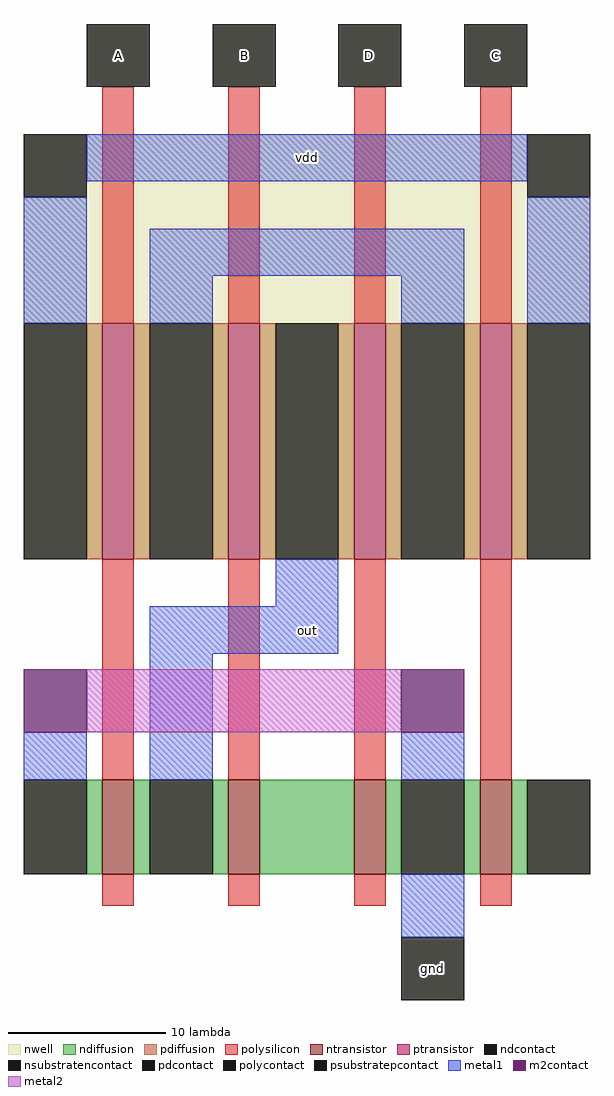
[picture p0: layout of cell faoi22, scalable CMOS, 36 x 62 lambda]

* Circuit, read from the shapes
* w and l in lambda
.subckt faoi22 A B C D gnd out vdd
M1 out A gnd gnd nfet w=6 l=2
M2 n1 B out gnd nfet w=6 l=2
M3 gnd D n1 gnd nfet w=6 l=2
M4 n2 C gnd gnd nfet w=6 l=2
M5 n3 A vdd vdd pfet w=15 l=2
M6 out B n3 vdd pfet w=15 l=2
M7 n3 D out vdd pfet w=15 l=2
M8 vdd C n3 vdd pfet w=15 l=2
.ends

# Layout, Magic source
magic
tech scmos
<< nwell >>
rect -16 23 20 50
<< polysilicon >>
rect -11 38 -9 53
rect -3 38 -1 53
rect 5 38 7 53
rect 13 38 15 53
rect -11 9 -9 23
rect -3 9 -1 23
rect 5 9 7 23
rect 13 9 15 23
rect -11 1 -9 3
rect -3 1 -1 3
rect 5 1 7 3
rect 13 1 15 3
<< ndiffusion >>
rect -12 3 -11 9
rect -9 3 -8 9
rect -4 3 -3 9
rect -1 3 5 9
rect 7 3 8 9
rect 12 3 13 9
rect 15 3 16 9
<< pdiffusion >>
rect -12 23 -11 38
rect -9 23 -8 38
rect -4 23 -3 38
rect -1 23 0 38
rect 4 23 5 38
rect 7 23 8 38
rect 12 23 13 38
rect 15 23 16 38
<< metal1 >>
rect -12 47 16 50
rect -16 38 -12 46
rect -8 41 12 44
rect -8 38 -4 41
rect 8 38 12 41
rect 16 38 20 46
rect 0 20 4 23
rect -8 17 4 20
rect -16 9 -12 12
rect -8 9 -4 17
rect 8 9 12 12
rect 8 -1 12 3
<< metal2 >>
rect -12 12 8 16
<< ntransistor >>
rect -11 3 -9 9
rect -3 3 -1 9
rect 5 3 7 9
rect 13 3 15 9
<< ptransistor >>
rect -11 23 -9 38
rect -3 23 -1 38
rect 5 23 7 38
rect 13 23 15 38
<< polycontact >>
rect -12 53 -8 57
rect -4 53 0 57
rect 4 53 8 57
rect 12 53 16 57
<< ndcontact >>
rect -16 3 -12 9
rect -8 3 -4 9
rect 8 3 12 9
rect 16 3 20 9
<< pdcontact >>
rect -16 23 -12 38
rect -8 23 -4 38
rect 0 23 4 38
rect 8 23 12 38
rect 16 23 20 38
<< m2contact >>
rect -16 12 -12 16
rect 8 12 12 16
<< psubstratepcontact >>
rect 8 -5 12 -1
<< nsubstratencontact >>
rect -16 46 -12 50
rect 16 46 20 50
<< labels >>
rlabel metal1 0 17 4 20 0 out
rlabel psubstratepcontact 8 -5 12 -1 0 gnd
rlabel metal1 -12 47 16 50 0 vdd
rlabel polycontact -12 53 -8 57 0 A
rlabel polycontact -4 53 0 57 0 B
rlabel polycontact 4 53 8 57 0 D
rlabel polycontact 12 53 16 57 0 C
<< end >>
